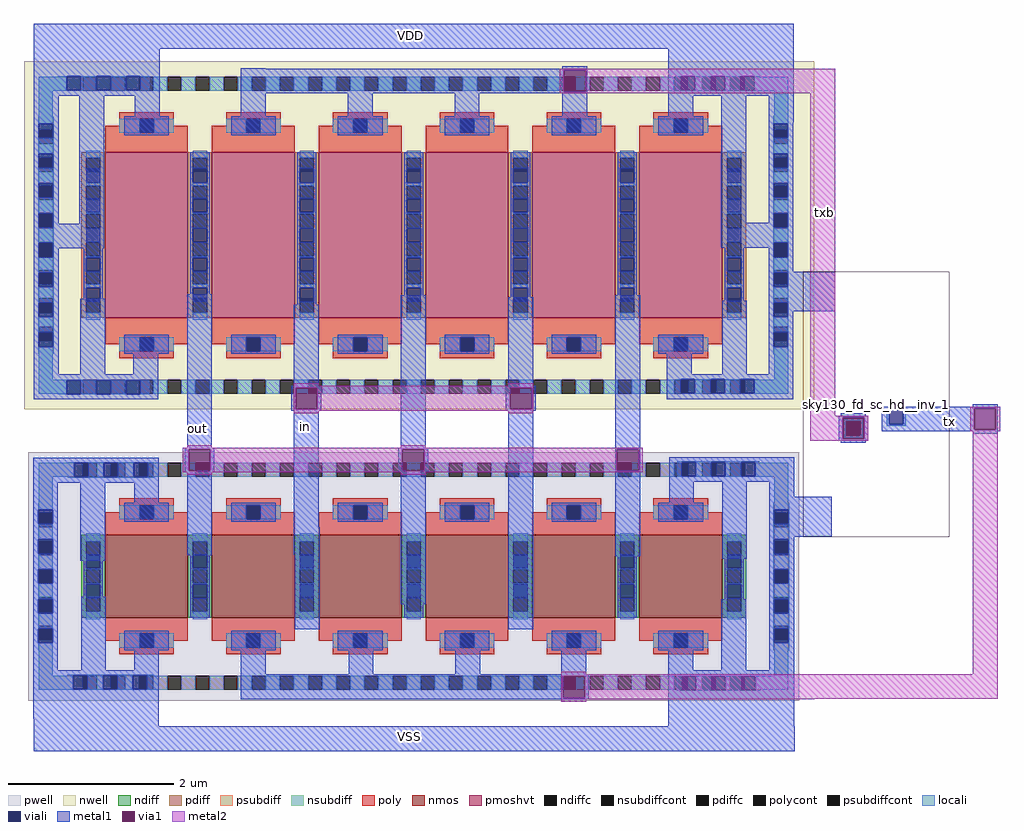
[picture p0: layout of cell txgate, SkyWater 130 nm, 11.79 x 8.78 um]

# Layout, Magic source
magic
tech sky130A
magscale 1 2
<< nwell >>
rect 74185 58186 76094 59026
<< locali >>
rect 74267 58956 74288 58990
rect 74322 58956 74360 58990
rect 74394 58956 74432 58990
rect 74466 58956 74487 58990
rect 75759 58956 75771 58990
rect 75805 58956 75843 58990
rect 75877 58956 75915 58990
rect 75949 58956 75961 58990
rect 74219 58875 74257 58892
rect 74219 58841 74221 58875
rect 74255 58841 74257 58875
rect 74219 58803 74257 58841
rect 74219 58769 74221 58803
rect 74255 58769 74257 58803
rect 74219 58731 74257 58769
rect 74219 58697 74221 58731
rect 74255 58697 74257 58731
rect 74219 58659 74257 58697
rect 74219 58625 74221 58659
rect 74255 58625 74257 58659
rect 74219 58587 74257 58625
rect 74219 58553 74221 58587
rect 74255 58553 74257 58587
rect 74219 58515 74257 58553
rect 74219 58481 74221 58515
rect 74255 58481 74257 58515
rect 74219 58443 74257 58481
rect 74219 58409 74221 58443
rect 74255 58409 74257 58443
rect 74219 58371 74257 58409
rect 74219 58337 74221 58371
rect 74255 58337 74257 58371
rect 74219 58320 74257 58337
rect 75995 58875 76031 58894
rect 75995 58841 75996 58875
rect 76030 58841 76031 58875
rect 75995 58803 76031 58841
rect 75995 58769 75996 58803
rect 76030 58769 76031 58803
rect 75995 58731 76031 58769
rect 75995 58697 75996 58731
rect 76030 58697 76031 58731
rect 75995 58659 76031 58697
rect 75995 58625 75996 58659
rect 76030 58625 76031 58659
rect 75995 58587 76031 58625
rect 75995 58553 75996 58587
rect 76030 58553 76031 58587
rect 75995 58515 76031 58553
rect 75995 58481 75996 58515
rect 76030 58481 76031 58515
rect 75995 58443 76031 58481
rect 75995 58409 75996 58443
rect 76030 58409 76031 58443
rect 75995 58371 76031 58409
rect 75995 58337 75996 58371
rect 76030 58337 76031 58371
rect 75995 58318 76031 58337
rect 74267 58222 74288 58256
rect 74322 58222 74360 58256
rect 74394 58222 74432 58256
rect 74466 58222 74487 58256
rect 75759 58224 75771 58258
rect 75805 58224 75843 58258
rect 75877 58224 75915 58258
rect 75949 58224 75961 58258
rect 76268 58183 76314 58186
rect 76164 58157 76212 58164
rect 76164 58123 76171 58157
rect 76205 58123 76212 58157
rect 76268 58149 76274 58183
rect 76308 58149 76314 58183
rect 76268 58146 76314 58149
rect 76164 58116 76212 58123
rect 75763 58058 75961 58060
rect 74291 58056 74499 58058
rect 74291 58022 74306 58056
rect 74340 58022 74378 58056
rect 74412 58022 74450 58056
rect 74484 58022 74499 58056
rect 75763 58024 75773 58058
rect 75807 58024 75845 58058
rect 75879 58024 75917 58058
rect 75951 58024 75961 58058
rect 75763 58022 75961 58024
rect 74291 58020 74499 58022
rect 74219 57943 74255 57960
rect 74219 57909 74220 57943
rect 74254 57909 74255 57943
rect 74219 57871 74255 57909
rect 74219 57837 74220 57871
rect 74254 57837 74255 57871
rect 74219 57799 74255 57837
rect 74219 57765 74220 57799
rect 74254 57765 74255 57799
rect 74219 57727 74255 57765
rect 74219 57693 74220 57727
rect 74254 57693 74255 57727
rect 74219 57655 74255 57693
rect 74219 57621 74220 57655
rect 74254 57621 74255 57655
rect 74219 57604 74255 57621
rect 75995 57943 76033 57960
rect 75995 57909 75997 57943
rect 76031 57909 76033 57943
rect 75995 57871 76033 57909
rect 75995 57837 75997 57871
rect 76031 57837 76033 57871
rect 75995 57799 76033 57837
rect 75995 57765 75997 57799
rect 76031 57765 76033 57799
rect 75995 57727 76033 57765
rect 75995 57693 75997 57727
rect 76031 57693 76033 57727
rect 75995 57655 76033 57693
rect 75995 57621 75997 57655
rect 76031 57621 76033 57655
rect 75995 57604 76033 57621
rect 74289 57543 74497 57544
rect 74289 57509 74304 57543
rect 74338 57509 74376 57543
rect 74410 57509 74448 57543
rect 74482 57509 74497 57543
rect 74289 57508 74497 57509
rect 75761 57541 75963 57542
rect 75761 57507 75773 57541
rect 75807 57507 75845 57541
rect 75879 57507 75917 57541
rect 75951 57507 75963 57541
rect 75761 57506 75963 57507
<< viali >>
rect 74288 58956 74322 58990
rect 74360 58956 74394 58990
rect 74432 58956 74466 58990
rect 75771 58956 75805 58990
rect 75843 58956 75877 58990
rect 75915 58956 75949 58990
rect 74221 58841 74255 58875
rect 74221 58769 74255 58803
rect 74221 58697 74255 58731
rect 74221 58625 74255 58659
rect 74221 58553 74255 58587
rect 74221 58481 74255 58515
rect 74221 58409 74255 58443
rect 74221 58337 74255 58371
rect 75996 58841 76030 58875
rect 75996 58769 76030 58803
rect 75996 58697 76030 58731
rect 75996 58625 76030 58659
rect 75996 58553 76030 58587
rect 75996 58481 76030 58515
rect 75996 58409 76030 58443
rect 75996 58337 76030 58371
rect 74288 58222 74322 58256
rect 74360 58222 74394 58256
rect 74432 58222 74466 58256
rect 75771 58224 75805 58258
rect 75843 58224 75877 58258
rect 75915 58224 75949 58258
rect 76171 58123 76205 58157
rect 76274 58149 76308 58183
rect 74306 58022 74340 58056
rect 74378 58022 74412 58056
rect 74450 58022 74484 58056
rect 75773 58024 75807 58058
rect 75845 58024 75879 58058
rect 75917 58024 75951 58058
rect 74220 57909 74254 57943
rect 74220 57837 74254 57871
rect 74220 57765 74254 57799
rect 74220 57693 74254 57727
rect 74220 57621 74254 57655
rect 75997 57909 76031 57943
rect 75997 57837 76031 57871
rect 75997 57765 76031 57799
rect 75997 57693 76031 57727
rect 75997 57621 76031 57655
rect 74304 57509 74338 57543
rect 74376 57509 74410 57543
rect 74448 57509 74482 57543
rect 75773 57507 75807 57541
rect 75845 57507 75879 57541
rect 75917 57507 75951 57541
<< metal1 >>
rect 74208 59056 76044 59116
rect 74208 58990 74513 59056
rect 74208 58956 74288 58990
rect 74322 58956 74360 58990
rect 74394 58956 74432 58990
rect 74466 58956 74513 58990
rect 74208 58942 74513 58956
rect 74208 58875 74269 58942
rect 74208 58862 74221 58875
rect 74209 58841 74221 58862
rect 74255 58841 74269 58875
rect 74209 58803 74269 58841
rect 74209 58769 74221 58803
rect 74255 58769 74269 58803
rect 74209 58731 74269 58769
rect 74209 58697 74221 58731
rect 74255 58697 74269 58731
rect 74209 58659 74269 58697
rect 74209 58634 74221 58659
rect 74208 58625 74221 58634
rect 74255 58634 74269 58659
rect 74319 58634 74379 58942
rect 74453 58851 74513 58942
rect 74709 59008 74769 59009
rect 75485 59008 75545 59014
rect 74709 59004 75545 59008
rect 74709 58952 75489 59004
rect 75541 58952 75545 59004
rect 74709 58948 75545 58952
rect 74709 58853 74769 58948
rect 74967 58851 75027 58948
rect 75225 58853 75285 58948
rect 75485 58853 75545 58948
rect 75741 58990 76044 59056
rect 75741 58956 75771 58990
rect 75805 58956 75843 58990
rect 75877 58956 75915 58990
rect 75949 58956 76044 58990
rect 75741 58942 76044 58956
rect 75741 58851 75801 58942
rect 74255 58625 74379 58634
rect 74208 58587 74379 58625
rect 74208 58574 74221 58587
rect 74209 58553 74221 58574
rect 74255 58574 74379 58587
rect 75869 58636 75929 58942
rect 75983 58878 76044 58942
rect 75983 58875 76043 58878
rect 75983 58841 75996 58875
rect 76030 58841 76043 58875
rect 75983 58803 76043 58841
rect 75983 58769 75996 58803
rect 76030 58769 76043 58803
rect 75983 58731 76043 58769
rect 75983 58697 75996 58731
rect 76030 58697 76043 58731
rect 75983 58659 76043 58697
rect 75983 58636 75996 58659
rect 75869 58625 75996 58636
rect 76030 58625 76043 58659
rect 75869 58587 76043 58625
rect 75869 58576 75996 58587
rect 74255 58553 74269 58574
rect 74209 58515 74269 58553
rect 74209 58481 74221 58515
rect 74255 58481 74269 58515
rect 74209 58443 74269 58481
rect 75983 58553 75996 58576
rect 76030 58553 76043 58587
rect 75983 58518 76043 58553
rect 75983 58515 76144 58518
rect 75983 58481 75996 58515
rect 76030 58481 76144 58515
rect 74209 58409 74221 58443
rect 74255 58409 74269 58443
rect 74209 58371 74269 58409
rect 74209 58337 74221 58371
rect 74255 58337 74269 58371
rect 74209 58270 74269 58337
rect 74321 58270 74381 58452
rect 74449 58270 74509 58358
rect 74208 58256 74509 58270
rect 74208 58222 74288 58256
rect 74322 58222 74360 58256
rect 74394 58222 74432 58256
rect 74466 58222 74509 58256
rect 74208 58210 74509 58222
rect 74579 58093 74639 58463
rect 74837 58242 74897 58438
rect 74831 58238 74903 58242
rect 74831 58186 74841 58238
rect 74893 58186 74903 58238
rect 74831 58182 74903 58186
rect 74573 58089 74645 58093
rect 74207 58056 74511 58068
rect 74207 58022 74306 58056
rect 74340 58022 74378 58056
rect 74412 58022 74450 58056
rect 74484 58022 74511 58056
rect 74573 58037 74583 58089
rect 74635 58037 74645 58089
rect 74573 58033 74645 58037
rect 74207 58008 74511 58022
rect 74207 57943 74267 58008
rect 74207 57909 74220 57943
rect 74254 57909 74267 57943
rect 74207 57871 74267 57909
rect 74207 57837 74220 57871
rect 74254 57837 74267 57871
rect 74207 57799 74267 57837
rect 74321 57820 74381 58008
rect 74451 57920 74511 58008
rect 74579 57833 74639 58033
rect 74837 57900 74897 58182
rect 75095 58093 75155 58461
rect 75355 58242 75415 58456
rect 75349 58238 75421 58242
rect 75349 58186 75359 58238
rect 75411 58186 75421 58238
rect 75349 58182 75421 58186
rect 75089 58089 75161 58093
rect 75089 58037 75099 58089
rect 75151 58037 75161 58089
rect 75089 58033 75161 58037
rect 74837 57834 74899 57900
rect 74207 57765 74220 57799
rect 74254 57765 74267 57799
rect 74207 57727 74267 57765
rect 74207 57693 74220 57727
rect 74254 57693 74267 57727
rect 74207 57655 74267 57693
rect 74207 57621 74220 57655
rect 74254 57621 74267 57655
rect 74207 57555 74267 57621
rect 74323 57555 74383 57733
rect 74839 57654 74899 57834
rect 75095 57714 75155 58033
rect 75355 57654 75415 58182
rect 75613 58089 75673 58461
rect 75737 58270 75797 58358
rect 75871 58270 75931 58448
rect 75983 58443 76144 58481
rect 75983 58409 75996 58443
rect 76030 58422 76144 58443
rect 76030 58409 76043 58422
rect 75983 58371 76043 58409
rect 75983 58337 75996 58371
rect 76030 58337 76043 58371
rect 75983 58270 76043 58337
rect 75737 58258 76043 58270
rect 75737 58224 75771 58258
rect 75805 58224 75843 58258
rect 75877 58224 75915 58258
rect 75949 58224 76043 58258
rect 75737 58210 76043 58224
rect 76476 58192 76536 58198
rect 76256 58188 76536 58192
rect 76256 58183 76480 58188
rect 76158 58170 76218 58176
rect 76152 58166 76224 58170
rect 76152 58114 76162 58166
rect 76214 58114 76224 58166
rect 76256 58149 76274 58183
rect 76308 58149 76480 58183
rect 76256 58136 76480 58149
rect 76532 58136 76536 58188
rect 76256 58132 76536 58136
rect 76476 58126 76536 58132
rect 76152 58110 76224 58114
rect 76158 58104 76218 58110
rect 75613 58037 75617 58089
rect 75669 58037 75673 58089
rect 75613 57831 75673 58037
rect 75743 58058 76045 58070
rect 75743 58024 75773 58058
rect 75807 58024 75845 58058
rect 75879 58024 75917 58058
rect 75951 58024 76045 58058
rect 75743 58010 76045 58024
rect 75743 57922 75803 58010
rect 75871 57824 75931 58010
rect 75985 57974 76045 58010
rect 75985 57943 76136 57974
rect 75985 57909 75997 57943
rect 76031 57909 76136 57943
rect 75985 57878 76136 57909
rect 75985 57871 76045 57878
rect 75985 57837 75997 57871
rect 76031 57837 76045 57871
rect 75985 57799 76045 57837
rect 75985 57765 75997 57799
rect 76031 57765 76045 57799
rect 75985 57727 76045 57765
rect 74451 57555 74511 57644
rect 74207 57543 74511 57555
rect 74207 57509 74304 57543
rect 74338 57509 74376 57543
rect 74410 57509 74448 57543
rect 74482 57509 74511 57543
rect 74207 57438 74511 57509
rect 74709 57545 74769 57645
rect 74969 57545 75029 57645
rect 75227 57545 75287 57643
rect 75483 57545 75543 57643
rect 75741 57555 75801 57646
rect 75869 57555 75929 57727
rect 75985 57693 75997 57727
rect 76031 57693 76045 57727
rect 75985 57655 76045 57693
rect 75985 57621 75997 57655
rect 76031 57621 76045 57655
rect 75985 57555 76045 57621
rect 74709 57541 75549 57545
rect 74709 57489 75487 57541
rect 75539 57489 75549 57541
rect 74709 57485 75549 57489
rect 75741 57541 76045 57555
rect 75741 57507 75773 57541
rect 75807 57507 75845 57541
rect 75879 57507 75917 57541
rect 75951 57507 76045 57541
rect 74208 57420 74511 57438
rect 75741 57420 76045 57507
rect 74208 57360 76046 57420
<< via1 >>
rect 75489 58952 75541 59004
rect 74841 58186 74893 58238
rect 74583 58037 74635 58089
rect 75359 58186 75411 58238
rect 75099 58037 75151 58089
rect 76162 58157 76214 58166
rect 76162 58123 76171 58157
rect 76171 58123 76205 58157
rect 76205 58123 76214 58157
rect 76162 58114 76214 58123
rect 76480 58136 76532 58188
rect 75617 58037 75669 58089
rect 75487 57489 75539 57541
<< metal2 >>
rect 75479 59004 76144 59008
rect 75479 58952 75489 59004
rect 75541 58952 76144 59004
rect 75479 58948 76144 58952
rect 74837 58242 74897 58248
rect 75355 58242 75415 58248
rect 74837 58238 75415 58242
rect 74837 58186 74841 58238
rect 74893 58186 75359 58238
rect 75411 58186 75415 58238
rect 74837 58182 75415 58186
rect 74837 58176 74897 58182
rect 75355 58176 75415 58182
rect 76084 58170 76144 58948
rect 76470 58188 76542 58192
rect 76084 58166 76224 58170
rect 76084 58114 76162 58166
rect 76214 58114 76224 58166
rect 76470 58136 76480 58188
rect 76532 58136 76542 58188
rect 76470 58132 76542 58136
rect 76084 58110 76224 58114
rect 74579 58093 74639 58099
rect 75095 58093 75155 58099
rect 74568 58089 75679 58093
rect 74568 58037 74583 58089
rect 74635 58037 75099 58089
rect 75151 58037 75617 58089
rect 75669 58037 75679 58089
rect 74568 58033 75679 58037
rect 74579 58027 74639 58033
rect 75095 58027 75155 58033
rect 75483 57545 75543 57551
rect 76476 57546 76536 58132
rect 75990 57545 76536 57546
rect 75483 57541 76536 57545
rect 75483 57489 75487 57541
rect 75539 57489 76536 57541
rect 75483 57486 76536 57489
rect 75483 57485 76094 57486
rect 75483 57479 75543 57485
use sky130_fd_pr__pfet_01v8_hvt_SCHXZ7  sky130_fd_pr__pfet_01v8_hvt_SCHXZ7_0
transform 1 0 75126 0 1 58606
box -941 -419 941 419
use sky130_fd_pr__nfet_01v8_N6QVV6  sky130_fd_pr__nfet_01v8_N6QVV6_0
transform 1 0 75126 0 1 57782
box -931 -300 931 300
use sky130_fd_sc_hd__inv_1  sky130_fd_sc_hd__inv_1_0
transform -1 0 76381 0 1 57926
box -38 -48 314 592
<< labels >>
flabel metal1 s 76416 58154 76424 58160 1 FreeSans 600 0 0 0 tx
flabel metal1 s 74598 58134 74608 58142 1 FreeSans 600 0 0 0 out
flabel metal1 s 74860 58140 74870 58148 1 FreeSans 600 0 0 0 in
flabel metal1 s 75114 59082 75124 59092 1 FreeSans 600 0 0 0 VDD
flabel metal1 s 75112 57392 75120 57398 1 FreeSans 600 0 0 0 VSS
flabel metal2 s 76114 58656 76124 58664 1 FreeSans 600 0 0 0 txb
<< end >>

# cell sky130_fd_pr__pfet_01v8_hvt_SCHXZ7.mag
magic
tech sky130A
magscale 1 2
<< nwell >>
rect -941 -419 941 419
<< pmoshvt >>
rect -745 -200 -545 200
rect -487 -200 -287 200
rect -229 -200 -29 200
rect 29 -200 229 200
rect 287 -200 487 200
rect 545 -200 745 200
<< pdiff >>
rect -803 187 -745 200
rect -803 153 -791 187
rect -757 153 -745 187
rect -803 119 -745 153
rect -803 85 -791 119
rect -757 85 -745 119
rect -803 51 -745 85
rect -803 17 -791 51
rect -757 17 -745 51
rect -803 -17 -745 17
rect -803 -51 -791 -17
rect -757 -51 -745 -17
rect -803 -85 -745 -51
rect -803 -119 -791 -85
rect -757 -119 -745 -85
rect -803 -153 -745 -119
rect -803 -187 -791 -153
rect -757 -187 -745 -153
rect -803 -200 -745 -187
rect -545 187 -487 200
rect -545 153 -533 187
rect -499 153 -487 187
rect -545 119 -487 153
rect -545 85 -533 119
rect -499 85 -487 119
rect -545 51 -487 85
rect -545 17 -533 51
rect -499 17 -487 51
rect -545 -17 -487 17
rect -545 -51 -533 -17
rect -499 -51 -487 -17
rect -545 -85 -487 -51
rect -545 -119 -533 -85
rect -499 -119 -487 -85
rect -545 -153 -487 -119
rect -545 -187 -533 -153
rect -499 -187 -487 -153
rect -545 -200 -487 -187
rect -287 187 -229 200
rect -287 153 -275 187
rect -241 153 -229 187
rect -287 119 -229 153
rect -287 85 -275 119
rect -241 85 -229 119
rect -287 51 -229 85
rect -287 17 -275 51
rect -241 17 -229 51
rect -287 -17 -229 17
rect -287 -51 -275 -17
rect -241 -51 -229 -17
rect -287 -85 -229 -51
rect -287 -119 -275 -85
rect -241 -119 -229 -85
rect -287 -153 -229 -119
rect -287 -187 -275 -153
rect -241 -187 -229 -153
rect -287 -200 -229 -187
rect -29 187 29 200
rect -29 153 -17 187
rect 17 153 29 187
rect -29 119 29 153
rect -29 85 -17 119
rect 17 85 29 119
rect -29 51 29 85
rect -29 17 -17 51
rect 17 17 29 51
rect -29 -17 29 17
rect -29 -51 -17 -17
rect 17 -51 29 -17
rect -29 -85 29 -51
rect -29 -119 -17 -85
rect 17 -119 29 -85
rect -29 -153 29 -119
rect -29 -187 -17 -153
rect 17 -187 29 -153
rect -29 -200 29 -187
rect 229 187 287 200
rect 229 153 241 187
rect 275 153 287 187
rect 229 119 287 153
rect 229 85 241 119
rect 275 85 287 119
rect 229 51 287 85
rect 229 17 241 51
rect 275 17 287 51
rect 229 -17 287 17
rect 229 -51 241 -17
rect 275 -51 287 -17
rect 229 -85 287 -51
rect 229 -119 241 -85
rect 275 -119 287 -85
rect 229 -153 287 -119
rect 229 -187 241 -153
rect 275 -187 287 -153
rect 229 -200 287 -187
rect 487 187 545 200
rect 487 153 499 187
rect 533 153 545 187
rect 487 119 545 153
rect 487 85 499 119
rect 533 85 545 119
rect 487 51 545 85
rect 487 17 499 51
rect 533 17 545 51
rect 487 -17 545 17
rect 487 -51 499 -17
rect 533 -51 545 -17
rect 487 -85 545 -51
rect 487 -119 499 -85
rect 533 -119 545 -85
rect 487 -153 545 -119
rect 487 -187 499 -153
rect 533 -187 545 -153
rect 487 -200 545 -187
rect 745 187 803 200
rect 745 153 757 187
rect 791 153 803 187
rect 745 119 803 153
rect 745 85 757 119
rect 791 85 803 119
rect 745 51 803 85
rect 745 17 757 51
rect 791 17 803 51
rect 745 -17 803 17
rect 745 -51 757 -17
rect 791 -51 803 -17
rect 745 -85 803 -51
rect 745 -119 757 -85
rect 791 -119 803 -85
rect 745 -153 803 -119
rect 745 -187 757 -153
rect 791 -187 803 -153
rect 745 -200 803 -187
<< pdiffc >>
rect -791 153 -757 187
rect -791 85 -757 119
rect -791 17 -757 51
rect -791 -51 -757 -17
rect -791 -119 -757 -85
rect -791 -187 -757 -153
rect -533 153 -499 187
rect -533 85 -499 119
rect -533 17 -499 51
rect -533 -51 -499 -17
rect -533 -119 -499 -85
rect -533 -187 -499 -153
rect -275 153 -241 187
rect -275 85 -241 119
rect -275 17 -241 51
rect -275 -51 -241 -17
rect -275 -119 -241 -85
rect -275 -187 -241 -153
rect -17 153 17 187
rect -17 85 17 119
rect -17 17 17 51
rect -17 -51 17 -17
rect -17 -119 17 -85
rect -17 -187 17 -153
rect 241 153 275 187
rect 241 85 275 119
rect 241 17 275 51
rect 241 -51 275 -17
rect 241 -119 275 -85
rect 241 -187 275 -153
rect 499 153 533 187
rect 499 85 533 119
rect 499 17 533 51
rect 499 -51 533 -17
rect 499 -119 533 -85
rect 499 -187 533 -153
rect 757 153 791 187
rect 757 85 791 119
rect 757 17 791 51
rect 757 -51 791 -17
rect 757 -119 791 -85
rect 757 -187 791 -153
<< nsubdiff >>
rect -905 349 -799 383
rect -765 349 -731 383
rect -697 349 -663 383
rect -629 349 -595 383
rect -561 349 -527 383
rect -493 349 -459 383
rect -425 349 -391 383
rect -357 349 -323 383
rect -289 349 -255 383
rect -221 349 -187 383
rect -153 349 -119 383
rect -85 349 -51 383
rect -17 349 17 383
rect 51 349 85 383
rect 119 349 153 383
rect 187 349 221 383
rect 255 349 289 383
rect 323 349 357 383
rect 391 349 425 383
rect 459 349 493 383
rect 527 349 561 383
rect 595 349 629 383
rect 663 349 697 383
rect 731 349 765 383
rect 799 349 905 383
rect -905 255 -871 349
rect -905 187 -871 221
rect 871 255 905 349
rect -905 119 -871 153
rect -905 51 -871 85
rect -905 -17 -871 17
rect -905 -85 -871 -51
rect -905 -153 -871 -119
rect -905 -221 -871 -187
rect 871 187 905 221
rect 871 119 905 153
rect 871 51 905 85
rect 871 -17 905 17
rect 871 -85 905 -51
rect 871 -153 905 -119
rect -905 -349 -871 -255
rect 871 -221 905 -187
rect 871 -349 905 -255
rect -905 -383 -799 -349
rect -765 -383 -731 -349
rect -697 -383 -663 -349
rect -629 -383 -595 -349
rect -561 -383 -527 -349
rect -493 -383 -459 -349
rect -425 -383 -391 -349
rect -357 -383 -323 -349
rect -289 -383 -255 -349
rect -221 -383 -187 -349
rect -153 -383 -119 -349
rect -85 -383 -51 -349
rect -17 -383 17 -349
rect 51 -383 85 -349
rect 119 -383 153 -349
rect 187 -383 221 -349
rect 255 -383 289 -349
rect 323 -383 357 -349
rect 391 -383 425 -349
rect 459 -383 493 -349
rect 527 -383 561 -349
rect 595 -383 629 -349
rect 663 -383 697 -349
rect 731 -383 765 -349
rect 799 -383 905 -349
<< nsubdiffcont >>
rect -799 349 -765 383
rect -731 349 -697 383
rect -663 349 -629 383
rect -595 349 -561 383
rect -527 349 -493 383
rect -459 349 -425 383
rect -391 349 -357 383
rect -323 349 -289 383
rect -255 349 -221 383
rect -187 349 -153 383
rect -119 349 -85 383
rect -51 349 -17 383
rect 17 349 51 383
rect 85 349 119 383
rect 153 349 187 383
rect 221 349 255 383
rect 289 349 323 383
rect 357 349 391 383
rect 425 349 459 383
rect 493 349 527 383
rect 561 349 595 383
rect 629 349 663 383
rect 697 349 731 383
rect 765 349 799 383
rect -905 221 -871 255
rect 871 221 905 255
rect -905 153 -871 187
rect -905 85 -871 119
rect -905 17 -871 51
rect -905 -51 -871 -17
rect -905 -119 -871 -85
rect -905 -187 -871 -153
rect 871 153 905 187
rect 871 85 905 119
rect 871 17 905 51
rect 871 -51 905 -17
rect 871 -119 905 -85
rect 871 -187 905 -153
rect -905 -255 -871 -221
rect 871 -255 905 -221
rect -799 -383 -765 -349
rect -731 -383 -697 -349
rect -663 -383 -629 -349
rect -595 -383 -561 -349
rect -527 -383 -493 -349
rect -459 -383 -425 -349
rect -391 -383 -357 -349
rect -323 -383 -289 -349
rect -255 -383 -221 -349
rect -187 -383 -153 -349
rect -119 -383 -85 -349
rect -51 -383 -17 -349
rect 17 -383 51 -349
rect 85 -383 119 -349
rect 153 -383 187 -349
rect 221 -383 255 -349
rect 289 -383 323 -349
rect 357 -383 391 -349
rect 425 -383 459 -349
rect 493 -383 527 -349
rect 561 -383 595 -349
rect 629 -383 663 -349
rect 697 -383 731 -349
rect 765 -383 799 -349
<< poly >>
rect -711 281 -579 297
rect -711 264 -662 281
rect -745 247 -662 264
rect -628 264 -579 281
rect -453 281 -321 297
rect -453 264 -404 281
rect -628 247 -545 264
rect -745 200 -545 247
rect -487 247 -404 264
rect -370 264 -321 281
rect -195 281 -63 297
rect -195 264 -146 281
rect -370 247 -287 264
rect -487 200 -287 247
rect -229 247 -146 264
rect -112 264 -63 281
rect 63 281 195 297
rect 63 264 112 281
rect -112 247 -29 264
rect -229 200 -29 247
rect 29 247 112 264
rect 146 264 195 281
rect 321 281 453 297
rect 321 264 370 281
rect 146 247 229 264
rect 29 200 229 247
rect 287 247 370 264
rect 404 264 453 281
rect 579 281 711 297
rect 579 264 628 281
rect 404 247 487 264
rect 287 200 487 247
rect 545 247 628 264
rect 662 264 711 281
rect 662 247 745 264
rect 545 200 745 247
rect -745 -247 -545 -200
rect -745 -264 -662 -247
rect -711 -281 -662 -264
rect -628 -264 -545 -247
rect -487 -247 -287 -200
rect -487 -264 -404 -247
rect -628 -281 -579 -264
rect -711 -297 -579 -281
rect -453 -281 -404 -264
rect -370 -264 -287 -247
rect -229 -247 -29 -200
rect -229 -264 -146 -247
rect -370 -281 -321 -264
rect -453 -297 -321 -281
rect -195 -281 -146 -264
rect -112 -264 -29 -247
rect 29 -247 229 -200
rect 29 -264 112 -247
rect -112 -281 -63 -264
rect -195 -297 -63 -281
rect 63 -281 112 -264
rect 146 -264 229 -247
rect 287 -247 487 -200
rect 287 -264 370 -247
rect 146 -281 195 -264
rect 63 -297 195 -281
rect 321 -281 370 -264
rect 404 -264 487 -247
rect 545 -247 745 -200
rect 545 -264 628 -247
rect 404 -281 453 -264
rect 321 -297 453 -281
rect 579 -281 628 -264
rect 662 -264 745 -247
rect 662 -281 711 -264
rect 579 -297 711 -281
<< polycont >>
rect -662 247 -628 281
rect -404 247 -370 281
rect -146 247 -112 281
rect 112 247 146 281
rect 370 247 404 281
rect 628 247 662 281
rect -662 -281 -628 -247
rect -404 -281 -370 -247
rect -146 -281 -112 -247
rect 112 -281 146 -247
rect 370 -281 404 -247
rect 628 -281 662 -247
<< locali >>
rect -905 349 -799 383
rect -765 349 -731 383
rect -697 349 -663 383
rect -629 349 -595 383
rect -561 349 -527 383
rect -493 349 -459 383
rect -425 349 -391 383
rect -357 349 -323 383
rect -289 349 -255 383
rect -221 349 -187 383
rect -153 349 -119 383
rect -85 349 -51 383
rect -17 349 17 383
rect 51 349 85 383
rect 119 349 153 383
rect 187 349 221 383
rect 255 349 289 383
rect 323 349 357 383
rect 391 349 425 383
rect 459 349 493 383
rect 527 349 561 383
rect 595 349 629 383
rect 663 349 697 383
rect 731 349 765 383
rect 799 349 905 383
rect -905 255 -871 349
rect -711 247 -662 281
rect -628 247 -579 281
rect -453 247 -404 281
rect -370 247 -321 281
rect -195 247 -146 281
rect -112 247 -63 281
rect 63 247 112 281
rect 146 247 195 281
rect 321 247 370 281
rect 404 247 453 281
rect 579 247 628 281
rect 662 247 711 281
rect 871 255 905 349
rect -905 187 -871 221
rect -905 119 -871 153
rect -905 51 -871 85
rect -905 -17 -871 17
rect -905 -85 -871 -51
rect -905 -153 -871 -119
rect -905 -221 -871 -187
rect -791 187 -757 204
rect -791 119 -757 127
rect -791 51 -757 55
rect -791 -55 -757 -51
rect -791 -127 -757 -119
rect -791 -204 -757 -187
rect -533 187 -499 204
rect -533 119 -499 127
rect -533 51 -499 55
rect -533 -55 -499 -51
rect -533 -127 -499 -119
rect -533 -204 -499 -187
rect -275 187 -241 204
rect -275 119 -241 127
rect -275 51 -241 55
rect -275 -55 -241 -51
rect -275 -127 -241 -119
rect -275 -204 -241 -187
rect -17 187 17 204
rect -17 119 17 127
rect -17 51 17 55
rect -17 -55 17 -51
rect -17 -127 17 -119
rect -17 -204 17 -187
rect 241 187 275 204
rect 241 119 275 127
rect 241 51 275 55
rect 241 -55 275 -51
rect 241 -127 275 -119
rect 241 -204 275 -187
rect 499 187 533 204
rect 499 119 533 127
rect 499 51 533 55
rect 499 -55 533 -51
rect 499 -127 533 -119
rect 499 -204 533 -187
rect 757 187 791 204
rect 757 119 791 127
rect 757 51 791 55
rect 757 -55 791 -51
rect 757 -127 791 -119
rect 757 -204 791 -187
rect 871 187 905 221
rect 871 119 905 153
rect 871 51 905 85
rect 871 -17 905 17
rect 871 -85 905 -51
rect 871 -153 905 -119
rect 871 -221 905 -187
rect -905 -349 -871 -255
rect -711 -281 -662 -247
rect -628 -281 -579 -247
rect -453 -281 -404 -247
rect -370 -281 -321 -247
rect -195 -281 -146 -247
rect -112 -281 -63 -247
rect 63 -281 112 -247
rect 146 -281 195 -247
rect 321 -281 370 -247
rect 404 -281 453 -247
rect 579 -281 628 -247
rect 662 -281 711 -247
rect 871 -349 905 -255
rect -905 -383 -799 -349
rect -765 -383 -731 -349
rect -697 -383 -663 -349
rect -629 -383 -595 -349
rect -561 -383 -527 -349
rect -493 -383 -459 -349
rect -425 -383 -391 -349
rect -357 -383 -323 -349
rect -289 -383 -255 -349
rect -221 -383 -187 -349
rect -153 -383 -119 -349
rect -85 -383 -51 -349
rect -17 -383 17 -349
rect 51 -383 85 -349
rect 119 -383 153 -349
rect 187 -383 221 -349
rect 255 -383 289 -349
rect 323 -383 357 -349
rect 391 -383 425 -349
rect 459 -383 493 -349
rect 527 -383 561 -349
rect 595 -383 629 -349
rect 663 -383 697 -349
rect 731 -383 765 -349
rect 799 -383 905 -349
<< viali >>
rect -662 247 -628 281
rect -404 247 -370 281
rect -146 247 -112 281
rect 112 247 146 281
rect 370 247 404 281
rect 628 247 662 281
rect -791 153 -757 161
rect -791 127 -757 153
rect -791 85 -757 89
rect -791 55 -757 85
rect -791 -17 -757 17
rect -791 -85 -757 -55
rect -791 -89 -757 -85
rect -791 -153 -757 -127
rect -791 -161 -757 -153
rect -533 153 -499 161
rect -533 127 -499 153
rect -533 85 -499 89
rect -533 55 -499 85
rect -533 -17 -499 17
rect -533 -85 -499 -55
rect -533 -89 -499 -85
rect -533 -153 -499 -127
rect -533 -161 -499 -153
rect -275 153 -241 161
rect -275 127 -241 153
rect -275 85 -241 89
rect -275 55 -241 85
rect -275 -17 -241 17
rect -275 -85 -241 -55
rect -275 -89 -241 -85
rect -275 -153 -241 -127
rect -275 -161 -241 -153
rect -17 153 17 161
rect -17 127 17 153
rect -17 85 17 89
rect -17 55 17 85
rect -17 -17 17 17
rect -17 -85 17 -55
rect -17 -89 17 -85
rect -17 -153 17 -127
rect -17 -161 17 -153
rect 241 153 275 161
rect 241 127 275 153
rect 241 85 275 89
rect 241 55 275 85
rect 241 -17 275 17
rect 241 -85 275 -55
rect 241 -89 275 -85
rect 241 -153 275 -127
rect 241 -161 275 -153
rect 499 153 533 161
rect 499 127 533 153
rect 499 85 533 89
rect 499 55 533 85
rect 499 -17 533 17
rect 499 -85 533 -55
rect 499 -89 533 -85
rect 499 -153 533 -127
rect 499 -161 533 -153
rect 757 153 791 161
rect 757 127 791 153
rect 757 85 791 89
rect 757 55 791 85
rect 757 -17 791 17
rect 757 -85 791 -55
rect 757 -89 791 -85
rect 757 -153 791 -127
rect 757 -161 791 -153
rect -662 -281 -628 -247
rect -404 -281 -370 -247
rect -146 -281 -112 -247
rect 112 -281 146 -247
rect 370 -281 404 -247
rect 628 -281 662 -247
<< metal1 >>
rect -699 281 -591 287
rect -699 247 -662 281
rect -628 247 -591 281
rect -699 241 -591 247
rect -441 281 -333 287
rect -441 247 -404 281
rect -370 247 -333 281
rect -441 241 -333 247
rect -183 281 -75 287
rect -183 247 -146 281
rect -112 247 -75 281
rect -183 241 -75 247
rect 75 281 183 287
rect 75 247 112 281
rect 146 247 183 281
rect 75 241 183 247
rect 333 281 441 287
rect 333 247 370 281
rect 404 247 441 281
rect 333 241 441 247
rect 591 281 699 287
rect 591 247 628 281
rect 662 247 699 281
rect 591 241 699 247
rect -797 161 -751 200
rect -797 127 -791 161
rect -757 127 -751 161
rect -797 89 -751 127
rect -797 55 -791 89
rect -757 55 -751 89
rect -797 17 -751 55
rect -797 -17 -791 17
rect -757 -17 -751 17
rect -797 -55 -751 -17
rect -797 -89 -791 -55
rect -757 -89 -751 -55
rect -797 -127 -751 -89
rect -797 -161 -791 -127
rect -757 -161 -751 -127
rect -797 -200 -751 -161
rect -539 161 -493 200
rect -539 127 -533 161
rect -499 127 -493 161
rect -539 89 -493 127
rect -539 55 -533 89
rect -499 55 -493 89
rect -539 17 -493 55
rect -539 -17 -533 17
rect -499 -17 -493 17
rect -539 -55 -493 -17
rect -539 -89 -533 -55
rect -499 -89 -493 -55
rect -539 -127 -493 -89
rect -539 -161 -533 -127
rect -499 -161 -493 -127
rect -539 -200 -493 -161
rect -281 161 -235 200
rect -281 127 -275 161
rect -241 127 -235 161
rect -281 89 -235 127
rect -281 55 -275 89
rect -241 55 -235 89
rect -281 17 -235 55
rect -281 -17 -275 17
rect -241 -17 -235 17
rect -281 -55 -235 -17
rect -281 -89 -275 -55
rect -241 -89 -235 -55
rect -281 -127 -235 -89
rect -281 -161 -275 -127
rect -241 -161 -235 -127
rect -281 -200 -235 -161
rect -23 161 23 200
rect -23 127 -17 161
rect 17 127 23 161
rect -23 89 23 127
rect -23 55 -17 89
rect 17 55 23 89
rect -23 17 23 55
rect -23 -17 -17 17
rect 17 -17 23 17
rect -23 -55 23 -17
rect -23 -89 -17 -55
rect 17 -89 23 -55
rect -23 -127 23 -89
rect -23 -161 -17 -127
rect 17 -161 23 -127
rect -23 -200 23 -161
rect 235 161 281 200
rect 235 127 241 161
rect 275 127 281 161
rect 235 89 281 127
rect 235 55 241 89
rect 275 55 281 89
rect 235 17 281 55
rect 235 -17 241 17
rect 275 -17 281 17
rect 235 -55 281 -17
rect 235 -89 241 -55
rect 275 -89 281 -55
rect 235 -127 281 -89
rect 235 -161 241 -127
rect 275 -161 281 -127
rect 235 -200 281 -161
rect 493 161 539 200
rect 493 127 499 161
rect 533 127 539 161
rect 493 89 539 127
rect 493 55 499 89
rect 533 55 539 89
rect 493 17 539 55
rect 493 -17 499 17
rect 533 -17 539 17
rect 493 -55 539 -17
rect 493 -89 499 -55
rect 533 -89 539 -55
rect 493 -127 539 -89
rect 493 -161 499 -127
rect 533 -161 539 -127
rect 493 -200 539 -161
rect 751 161 797 200
rect 751 127 757 161
rect 791 127 797 161
rect 751 89 797 127
rect 751 55 757 89
rect 791 55 797 89
rect 751 17 797 55
rect 751 -17 757 17
rect 791 -17 797 17
rect 751 -55 797 -17
rect 751 -89 757 -55
rect 791 -89 797 -55
rect 751 -127 797 -89
rect 751 -161 757 -127
rect 791 -161 797 -127
rect 751 -200 797 -161
rect -699 -247 -591 -241
rect -699 -281 -662 -247
rect -628 -281 -591 -247
rect -699 -287 -591 -281
rect -441 -247 -333 -241
rect -441 -281 -404 -247
rect -370 -281 -333 -247
rect -441 -287 -333 -281
rect -183 -247 -75 -241
rect -183 -281 -146 -247
rect -112 -281 -75 -247
rect -183 -287 -75 -281
rect 75 -247 183 -241
rect 75 -281 112 -247
rect 146 -281 183 -247
rect 75 -287 183 -281
rect 333 -247 441 -241
rect 333 -281 370 -247
rect 404 -281 441 -247
rect 333 -287 441 -281
rect 591 -247 699 -241
rect 591 -281 628 -247
rect 662 -281 699 -247
rect 591 -287 699 -281
<< properties >>
string FIXED_BBOX -888 -366 888 366
<< end >>

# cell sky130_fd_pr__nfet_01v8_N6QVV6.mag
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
